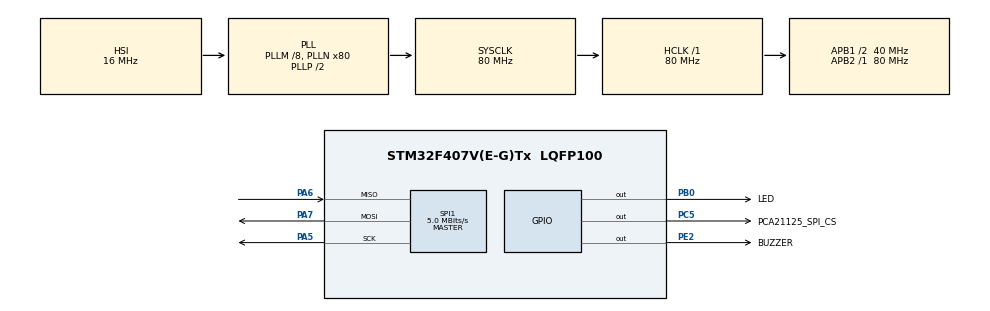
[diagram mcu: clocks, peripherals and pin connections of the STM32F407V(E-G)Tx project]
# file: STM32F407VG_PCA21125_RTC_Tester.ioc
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Mcu.Family=STM32F4
Mcu.Name=STM32F407V(E-G)Tx
Mcu.Package=LQFP100
NVIC.PriorityGroup=NVIC_PRIORITYGROUP_4
PA5.Mode=Full_Duplex_Master
PA5.Signal=SPI1_SCK
PA6.Mode=Full_Duplex_Master
PA6.Signal=SPI1_MISO
PA7.Mode=Full_Duplex_Master
PA7.Signal=SPI1_MOSI
PB0.GPIO_Label=LED
PB0.Signal=GPIO_Output
PC5.GPIO_Label=PCA21125_SPI_CS
PC5.Signal=GPIO_Output
PE2.GPIO_Label=BUZZER
PE2.Signal=GPIO_Output
ProjectManager.HeapSize=0x200
ProjectManager.StackSize=0x400
ProjectManager.TargetToolchain=STM32CubeIDE
RCC.48MHZClocksFreq_Value=40000000
RCC.AHBFreq_Value=80000000
RCC.APB1CLKDivider=RCC_HCLK_DIV2
RCC.APB1Freq_Value=40000000
RCC.APB1TimFreq_Value=80000000
RCC.APB2Freq_Value=80000000
RCC.APB2TimFreq_Value=80000000
RCC.CortexFreq_Value=80000000
RCC.HCLKFreq_Value=80000000
RCC.HSE_VALUE=25000000
RCC.HSI_VALUE=16000000
RCC.LSE_VALUE=32768
RCC.PLLM=8
RCC.PLLN=80
RCC.SYSCLKFreq_VALUE=80000000
RCC.SYSCLKSource=RCC_SYSCLKSOURCE_PLLCLK
RCC.VCOOutputFreq_Value=160000000
SPI1.BaudRatePrescaler=SPI_BAUDRATEPRESCALER_16
SPI1.CLKPhase=SPI_PHASE_2EDGE
SPI1.CLKPolarity=SPI_POLARITY_LOW
SPI1.CalculateBaudRate=5.0 MBits/s
SPI1.Direction=SPI_DIRECTION_2LINES
SPI1.FirstBit=SPI_FIRSTBIT_MSB
SPI1.Mode=SPI_MODE_MASTER
SPI1.VirtualType=VM_MASTER
board=custom

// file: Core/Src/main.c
/* USER CODE BEGIN Header */
/**
 ******************************************************************************
 * @file           : main.c
 * @brief          : Main program body
 ******************************************************************************
 * @attention
 *
 * Copyright (c) 2022 STMicroelectronics.
 * All rights reserved.
 *
 * This software is licensed under terms that can be found in the LICENSE file
 * in the root directory of this software component.
 * If no LICENSE file comes with this software, it is provided AS-IS.
 *
 ******************************************************************************
 */
/* USER CODE END Header */
#include "main.h"

/* USER CODE BEGIN Includes */
#include "PCA21125.h"

/* USER CODE END Includes */

SPI_HandleTypeDef hspi1;

void SystemClock_Config(void);
static void MX_GPIO_Init(void);
static void MX_SPI1_Init(void);
/* USER CODE BEGIN PFP */
void Buzzer_Trigger(void);
/* USER CODE END PFP */

/* USER CODE BEGIN 0 */

RTC_Data _RTC_R_DATA;
RTC_Data _RTC_W_DATA;

/* USER CODE END 0 */

int main(void)
{

  /* MCU Configuration--------------------------------------------------------*/

  /* Reset of all peripherals, Initializes the Flash interface and the Systick. */
  HAL_Init();

  /* Configure the system clock */
  SystemClock_Config();

  /* Initialize all configured peripherals */
  MX_GPIO_Init();
  MX_SPI1_Init();
  /* USER CODE BEGIN 2 */
	Buzzer_Trigger();

	/* Init the RTC and Enable the INT pin */
	PCA21125RTC_Init(&hspi1, SET);

	_RTC_W_DATA.Seconds = 30;
	_RTC_W_DATA.Minutes = 5;
	_RTC_W_DATA.Hours = 15;
	_RTC_W_DATA.Days = 7;
	_RTC_W_DATA.Month = 2;
	_RTC_W_DATA.Year = 23;

	RTC_SetTime(&_RTC_W_DATA);

  /* USER CODE END 2 */

  /* Infinite loop */
	while (1)
	{

    /* USER CODE BEGIN 3 */
		PCA21125RTC_GetTime(&_RTC_R_DATA);
		HAL_Delay(10);
	}
  /* USER CODE END 3 */
}

void SystemClock_Config(void)
{
  RCC_OscInitTypeDef RCC_OscInitStruct = {0};
  RCC_ClkInitTypeDef RCC_ClkInitStruct = {0};

  /** Configure the main internal regulator output voltage
  */
  __HAL_RCC_PWR_CLK_ENABLE();
  __HAL_PWR_VOLTAGESCALING_CONFIG(PWR_REGULATOR_VOLTAGE_SCALE1);

  /** Initializes the RCC Oscillators according to the specified parameters
  * in the RCC_OscInitTypeDef structure.
  */
  RCC_OscInitStruct.OscillatorType = RCC_OSCILLATORTYPE_HSI;
  RCC_OscInitStruct.HSIState = RCC_HSI_ON;
  RCC_OscInitStruct.HSICalibrationValue = RCC_HSICALIBRATION_DEFAULT;
  RCC_OscInitStruct.PLL.PLLState = RCC_PLL_ON;
  RCC_OscInitStruct.PLL.PLLSource = RCC_PLLSOURCE_HSI;
  RCC_OscInitStruct.PLL.PLLM = 8;
  RCC_OscInitStruct.PLL.PLLN = 80;
  RCC_OscInitStruct.PLL.PLLP = RCC_PLLP_DIV2;
  RCC_OscInitStruct.PLL.PLLQ = 4;
  if (HAL_RCC_OscConfig(&RCC_OscInitStruct) != HAL_OK)
  {
    Error_Handler();
  }

  /** Initializes the CPU, AHB and APB buses clocks
  */
  RCC_ClkInitStruct.ClockType = RCC_CLOCKTYPE_HCLK|RCC_CLOCKTYPE_SYSCLK
                              |RCC_CLOCKTYPE_PCLK1|RCC_CLOCKTYPE_PCLK2;
  RCC_ClkInitStruct.SYSCLKSource = RCC_SYSCLKSOURCE_PLLCLK;
  RCC_ClkInitStruct.AHBCLKDivider = RCC_SYSCLK_DIV1;
  RCC_ClkInitStruct.APB1CLKDivider = RCC_HCLK_DIV2;
  RCC_ClkInitStruct.APB2CLKDivider = RCC_HCLK_DIV1;

  if (HAL_RCC_ClockConfig(&RCC_ClkInitStruct, FLASH_LATENCY_2) != HAL_OK)
  {
    Error_Handler();
  }
}

static void MX_SPI1_Init(void)
{

  /* SPI1 parameter configuration*/
  hspi1.Instance = SPI1;
  hspi1.Init.Mode = SPI_MODE_MASTER;
  hspi1.Init.Direction = SPI_DIRECTION_2LINES;
  hspi1.Init.DataSize = SPI_DATASIZE_8BIT;
  hspi1.Init.CLKPolarity = SPI_POLARITY_LOW;
  hspi1.Init.CLKPhase = SPI_PHASE_2EDGE;
  hspi1.Init.NSS = SPI_NSS_SOFT;
  hspi1.Init.BaudRatePrescaler = SPI_BAUDRATEPRESCALER_16;
  hspi1.Init.FirstBit = SPI_FIRSTBIT_MSB;
  hspi1.Init.TIMode = SPI_TIMODE_DISABLE;
  hspi1.Init.CRCCalculation = SPI_CRCCALCULATION_DISABLE;
  hspi1.Init.CRCPolynomial = 10;
  if (HAL_SPI_Init(&hspi1) != HAL_OK)
  {
    Error_Handler();
  }

}

static void MX_GPIO_Init(void)
{
  GPIO_InitTypeDef GPIO_InitStruct = {0};

  /* GPIO Ports Clock Enable */
  __HAL_RCC_GPIOE_CLK_ENABLE();
  __HAL_RCC_GPIOA_CLK_ENABLE();
  __HAL_RCC_GPIOC_CLK_ENABLE();
  __HAL_RCC_GPIOB_CLK_ENABLE();

  /*Configure GPIO pin Output Level */
  HAL_GPIO_WritePin(BUZZER_GPIO_Port, BUZZER_Pin, GPIO_PIN_RESET);

  /*Configure GPIO pin Output Level */
  HAL_GPIO_WritePin(PCA21125_SPI_CS_GPIO_Port, PCA21125_SPI_CS_Pin, GPIO_PIN_RESET);

  /*Configure GPIO pin Output Level */
  HAL_GPIO_WritePin(LED_GPIO_Port, LED_Pin, GPIO_PIN_RESET);

  /*Configure GPIO pin : BUZZER_Pin */
  GPIO_InitStruct.Pin = BUZZER_Pin;
  GPIO_InitStruct.Mode = GPIO_MODE_OUTPUT_PP;
  GPIO_InitStruct.Pull = GPIO_NOPULL;
  GPIO_InitStruct.Speed = GPIO_SPEED_FREQ_LOW;
  HAL_GPIO_Init(BUZZER_GPIO_Port, &GPIO_InitStruct);

  /*Configure GPIO pin : PCA21125_SPI_CS_Pin */
  GPIO_InitStruct.Pin = PCA21125_SPI_CS_Pin;
  GPIO_InitStruct.Mode = GPIO_MODE_OUTPUT_PP;
  GPIO_InitStruct.Pull = GPIO_NOPULL;
  GPIO_InitStruct.Speed = GPIO_SPEED_FREQ_LOW;
  HAL_GPIO_Init(PCA21125_SPI_CS_GPIO_Port, &GPIO_InitStruct);

  /*Configure GPIO pin : LED_Pin */
  GPIO_InitStruct.Pin = LED_Pin;
  GPIO_InitStruct.Mode = GPIO_MODE_OUTPUT_PP;
  GPIO_InitStruct.Pull = GPIO_NOPULL;
  GPIO_InitStruct.Speed = GPIO_SPEED_FREQ_LOW;
  HAL_GPIO_Init(LED_GPIO_Port, &GPIO_InitStruct);

}

/* USER CODE BEGIN 4 */
void Buzzer_Trigger(void) {
	HAL_GPIO_TogglePin(BUZZER_GPIO_Port, BUZZER_Pin);
	HAL_Delay(50);
	HAL_GPIO_TogglePin(BUZZER_GPIO_Port, BUZZER_Pin);
	HAL_Delay(300);
	HAL_GPIO_TogglePin(BUZZER_GPIO_Port, BUZZER_Pin);
	HAL_Delay(300);
	HAL_GPIO_TogglePin(BUZZER_GPIO_Port, BUZZER_Pin);
	HAL_GPIO_WritePin(BUZZER_GPIO_Port, BUZZER_Pin, GPIO_PIN_RESET);
}
/* USER CODE END 4 */

void Error_Handler(void)
{
  /* USER CODE BEGIN Error_Handler_Debug */
	/* User can add his own implementation to report the HAL error return state */
	__disable_irq();
	while (1)
	{
		Buzzer_Trigger();
	}
  /* USER CODE END Error_Handler_Debug */
}
